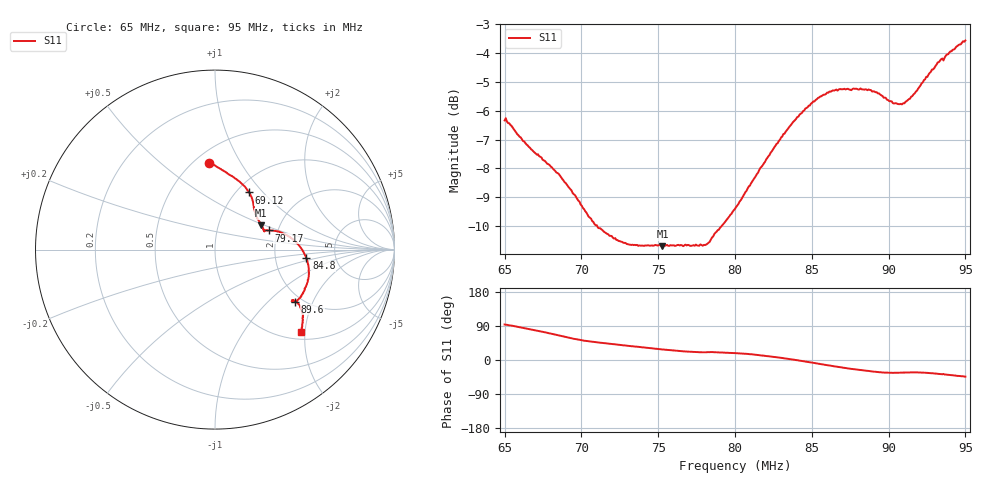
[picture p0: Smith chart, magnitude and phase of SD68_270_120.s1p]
! NanoVNA-App
! Date: 2025-08-09 13:35:37
! Start: 65MHz Stop: 95MHz Points: 401
! S-Parameter data: F S11
# Hz S RI R 50
!  Frequency  S11_Real  S11_Imag
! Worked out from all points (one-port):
!   401 points, 65 MHz to 95 MHz, reference 50 ohm
!   lowest |S11| = -10.7 dB at 75.28 MHz (marker M1), VSWR 1.82, Z = 80.4 + j23.9 ohm
!   |S11| at or under -10 dB: 71.02 MHz to 79.13 MHz (8.109 MHz wide, 10.8 % of centre)
!   S11 on the Smith chart (normalised r, x): 65 MHz: 0.59, +0.74; 69.12 MHz: 1.14, +0.84; 79.17 MHz: 1.79, +0.42; 84.8 MHz: 3.04, -0.40; 89.6 MHz: 1.83, -1.48; 95 MHz: 1.16, -1.90
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6.5e7  -0.0315 0.4813
6.7325e7  0.1031 0.4042
6.875e7  0.1749 0.3392
6.9125e7  0.1897 0.3182
7.0025e7  0.2104 0.2705
7.0775e7  0.2166 0.2375
7.25e7  0.2282 0.1909
7.5275e7  0.2579 0.1362
7.625e7  0.2673 0.1201
7.805e7  0.2746 0.1018
7.9175e7  0.2987 0.1068
8e7  0.3216 0.1059
8.0975e7  0.3588 0.0978
8.2025e7  0.4049 0.0775
8.3e7  0.4482 0.0453
8.375e7  0.478 0.0107
8.48e7  0.5093 -0.0486
8.54e7  0.5205 -0.086
8.615e7  0.5241 -0.1358
8.75e7  0.5021 -0.213
8.8925e7  0.4679 -0.2725
8.96e7  0.446 -0.2898
9.0425e7  0.4278 -0.2895
9.125e7  0.4392 -0.2839
9.17e7  0.4531 -0.289
9.2225e7  0.4695 -0.3081
9.3275e7  0.4891 -0.3629
9.5e7  0.4789 -0.4601
